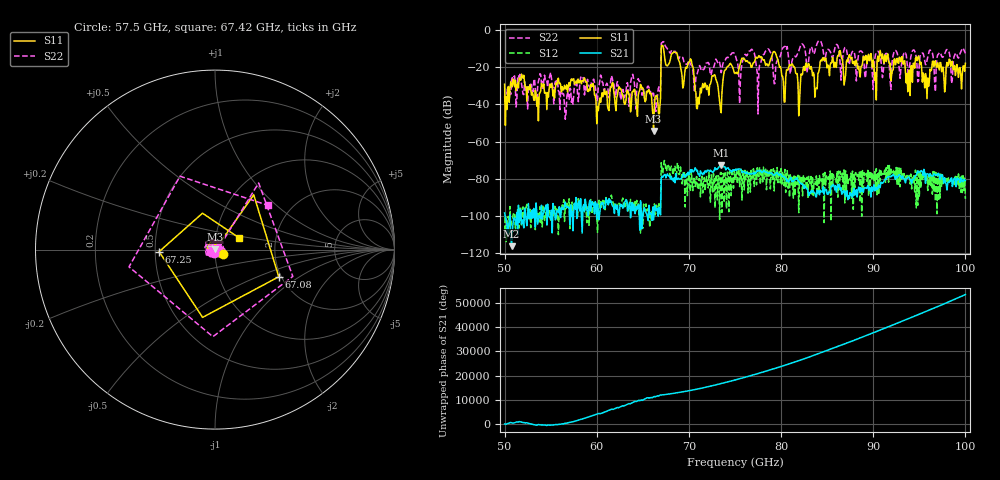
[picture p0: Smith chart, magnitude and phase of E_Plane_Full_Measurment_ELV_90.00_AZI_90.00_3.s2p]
! 11/26/2026 2:48:41 PM
! C:\ANRITSUVNA\TEMP\TEMP.S2P
! CHANNEL.1
! TR.MEASUREMENT
! RAW.DATA
# HZ S RI R 50.0
! FREQ.HZ  S11RE  S11IM  S21RE  S21IM  S12RE  S12IM  S22RE  S22IM
!; PortSelection: Port_12
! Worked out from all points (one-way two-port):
!   601 points, 50 GHz to 100 GHz, reference 50 ohm
!   highest |S21| = -72.76 dB at 73.5 GHz (marker M1); lowest = -116.2 dB at 50.75 GHz (marker M2)
!   lowest |S11| = -54.2 dB at 66.17 GHz (marker M3), VSWR 1.00, Z = 50.1 + j0.14 ohm
!   |S11| at or under -10 dB: start of sweep to 67 GHz; 67.24 GHz to end of sweep
!   |S22| runs from -48.0 to -5.6 dB; largest |S21 - S12| = 0.00037
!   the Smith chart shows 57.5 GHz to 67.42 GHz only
!   S11 on the Smith chart (normalised r, x): 57.5 GHz: 1.09, -0.05; 67.08 GHz: 1.94, -0.69; 67.25 GHz: 0.53, -0.01; 67.42 GHz: 1.29, +0.18
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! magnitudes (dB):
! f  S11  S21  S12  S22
! 50 GHz  -29.1  -98.3  -108.2  -35.8
! 50.75 GHz  -29.1  -116.2  -102.8  -27.1
! 57.5 GHz  -26.2  -95.4  -94.4  -34.7
! 58.42 GHz  -27.2  -109.2  -97.9  -24.8
! 60.17 GHz  -43.3  -98.6  -93.7  -30.4
! 66.17 GHz  -54.2  -102.0  -93.5  -34.0
! 66.67 GHz  -41.5  -100.1  -94.9  -31.7
! 67.08 GHz  -8.3  -78.6  -75.3  -6.8
! 67.25 GHz  -10.1  -78.1  -72.6  -6.2
! 67.42 GHz  -16.5  -77.6  -71.4  -8.3
! 70.17 GHz  -15.5  -75.0  -86.8  -18.6
! 70.67 GHz  -32.9  -74.0  -84.1  -32.9
! 73.5 GHz  -44.4  -72.8  -76.7  -22.9
! 75 GHz  -23.3  -75.3  -80.6  -13.0
! 79.25 GHz  -11.5  -78.1  -86.5  -28.8
! 80.25 GHz  -28.1  -78.6  -77.3  -9.3
! 83.42 GHz  -24.6  -86.2  -78.6  -10.8
! 91.67 GHz  -16.8  -78.7  -81.8  -15.1
! 93.75 GHz  -33.1  -79.3  -79.7  -21.2
! 94.83 GHz  -15.0  -75.7  -94.2  -27.8
! 95.83 GHz  -36.9  -77.4  -78.5  -16.5
! 100 GHz  -17.8  -80.9  -90.8  -12.5
